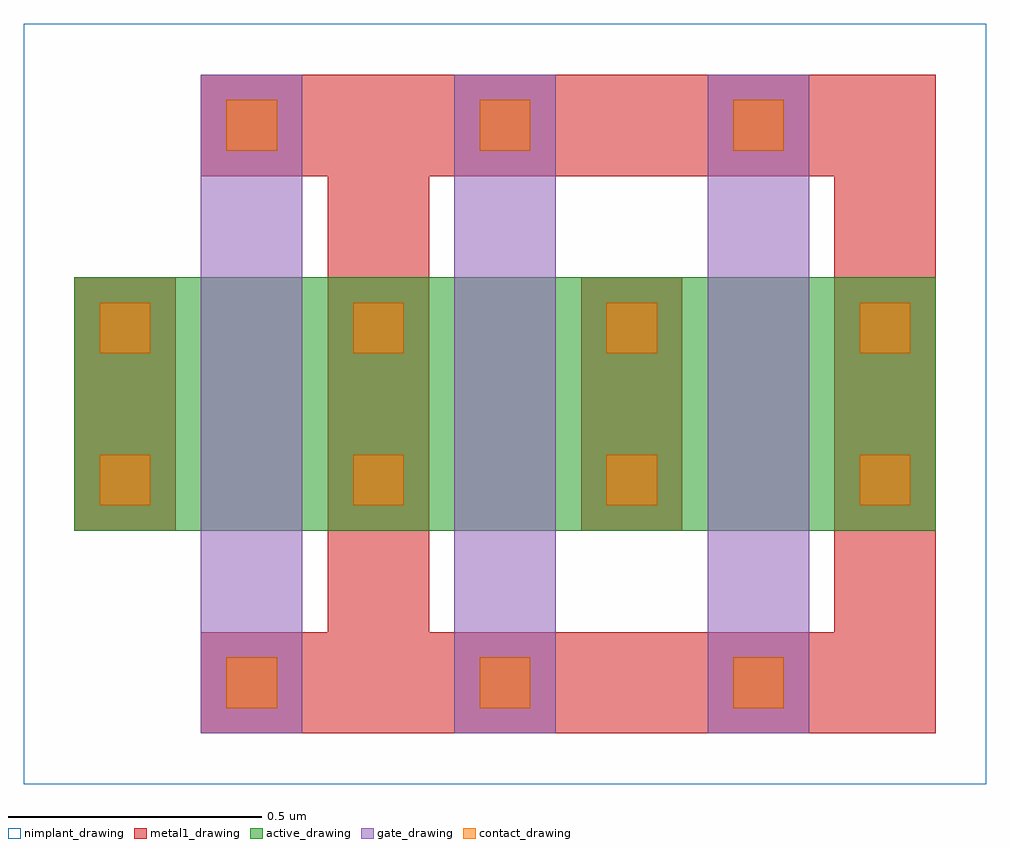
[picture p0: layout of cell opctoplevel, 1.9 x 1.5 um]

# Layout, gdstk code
import gdstk
lib = gdstk.Library(unit=1e-6, precision=1e-09)
def R(c, l, rs):  # rectangles x0, y0, x1, y1
    for r in rs: c.add(gdstk.rectangle(r[:2], r[2:], *l))
def A(c, l, x, y, w, h, nx, ny, dx, dy):  # array of equal rectangles
    R(c, l, [(x+i*dx, y+j*dy, x+i*dx+w, y+j*dy+h) for i in range(nx) for j in range(ny)])
active_drawing = (1, 0)
nimplant_drawing = (5, 0)
gate_drawing = (6, 0)
contact_drawing = (7, 0)
metal1_drawing = (8, 0)

opctoplevel = lib.new_cell('opctoplevel')
R(opctoplevel, active_drawing, [(-0.25,0,1.45,0.5)])
R(opctoplevel, nimplant_drawing, [(-0.35,-0.5,1.55,1)])
A(opctoplevel, gate_drawing, 0, -0.4, 0.2, 1.3, 3, 1, 0.5, 0)
A(opctoplevel, contact_drawing, 0.05, -0.35, 0.1, 0.1, 3, 2, 0.5, 1.1)
A(opctoplevel, contact_drawing, -0.2, 0.05, 0.1, 0.1, 4, 2, 0.5, 0.3)
A(opctoplevel, metal1_drawing, -0.25, 0, 0.2, 0.5, 4, 1, 0.5, 0)
R(opctoplevel, metal1_drawing, [(0,-0.4,1.2,-0.2), (0.25,-0.4,1.45,-0.2), (0.25,-0.2,0.45,0), (1.25,-0.2,1.45,0), (0.25,0.5,0.45,0.7), (1.25,0.5,1.45,0.7), (0,0.7,1.2,0.9), (0.25,0.7,1.45,0.9)])

lib.write_gds('opctoplevel.gds')
